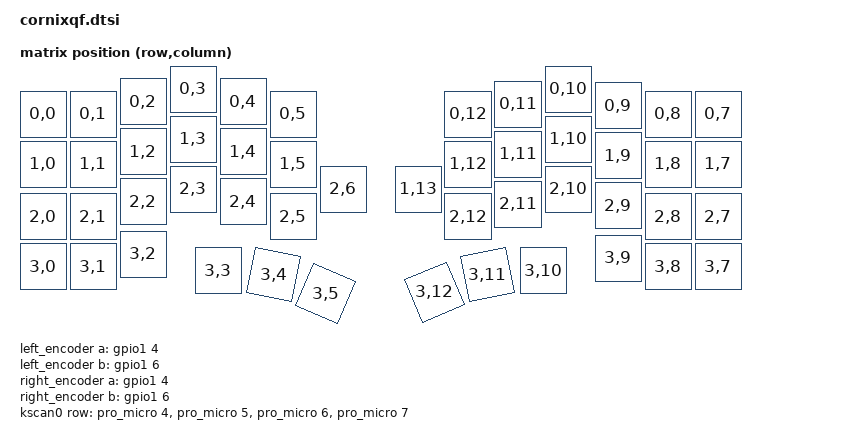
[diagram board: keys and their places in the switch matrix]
/*
 * Copyright (c) 2020 Pete Johanson
 *
 * SPDX-License-Identifier: MIT
 */

#include <dt-bindings/zmk/matrix_transform.h>

// #include <layouts/foostan/corne/5column.dtsi>
// #include <layouts/foostan/corne/6column.dtsi>

// &foostan_corne_6col_layout {
//     transform = <&default_transform>;
// };

// &foostan_corne_5col_layout {
//     transform = <&five_column_transform>;
// };

/ {
    chosen {
        zephyr;
        // display = &oled;
        zmk,kscan = &kscan0;
        zmk,physical-layout = &layout_50;
//        zmk,physical-layout = &foostan_corne_6col_layout;
    };
    default_transform: keymap_transform_50 {
        compatible = "zmk,matrix-transform";
        columns = <14>;
        rows = <4>;
// | SW1  | SW2  | SW3  | SW4  | SW5  | SW6  |             | SW6  | SW5  | SW4  | SW3  | SW2  | SW1  |
// | SW7  | SW8  | SW9  | SW10 | SW11 | SW12 |             | SW12 | SW11 | SW10 | SW9  | SW8  | SW7  |
// | SW13 | SW14 | SW15 | SW16 | SW17 | SW18 | SW19 | SW19 | SW18 | SW17 | SW16 | SW15 | SW14 | SW13 |
// | SW19 | SW20 | SW21 | SW22 | SW23 | SW24 |             | SW24 | SW23 | SW22 | SW21 | SW20 | SW19 |
        map = <
            RC(0,0) RC(0,1) RC(0,2) RC(0,3) RC(0,4) RC(0,5)                   RC(0,12)  RC(0,11) RC(0,10) RC(0,9) RC(0,8) RC(0,7)
            RC(1,0) RC(1,1) RC(1,2) RC(1,3) RC(1,4) RC(1,5)                   RC(1,12)  RC(1,11) RC(1,10) RC(1,9) RC(1,8) RC(1,7)
            RC(2,0) RC(2,1) RC(2,2) RC(2,3) RC(2,4) RC(2,5) RC(2, 6) RC(1,13) RC(2,12)  RC(2,11) RC(2,10) RC(2,9) RC(2,8) RC(2,7)
            RC(3,0) RC(3,1) RC(3,2) RC(3,3) RC(3,4) RC(3,5)                   RC(3,12)  RC(3,11) RC(3,10) RC(3,9) RC(3,8) RC(3,7)
        >;
    };

    layout_50: layout_50 {
        compatible = "zmk,physical-layout";
        display-name = "LAYOUT_50";

        transform = <&default_transform>;

        keys  //                     w   h    x    y     rot    rx    ry
            = <&key_physical_attrs 100 100    0   50       0     0     0>
            , <&key_physical_attrs 100 100  100   50       0     0     0>
            , <&key_physical_attrs 100 100  200   25       0     0     0>
            , <&key_physical_attrs 100 100  300    0       0     0     0>
            , <&key_physical_attrs 100 100  400   25       0     0     0>
            , <&key_physical_attrs 100 100  500   50       0     0     0>
            , <&key_physical_attrs 100 100  850   50       0     0     0>
            , <&key_physical_attrs 100 100  950   30       0     0     0>
            , <&key_physical_attrs 100 100 1050    0       0     0     0>
            , <&key_physical_attrs 100 100 1150   33       0     0     0>
            , <&key_physical_attrs 100 100 1250   50       0     0     0>
            , <&key_physical_attrs 100 100 1350   50       0     0     0>
            , <&key_physical_attrs 100 100    0  150       0     0     0>
            , <&key_physical_attrs 100 100  100  150       0     0     0>
            , <&key_physical_attrs 100 100  200  125       0     0     0>
            , <&key_physical_attrs 100 100  300  100       0     0     0>
            , <&key_physical_attrs 100 100  400  125       0     0     0>
            , <&key_physical_attrs 100 100  500  150       0     0     0>
            , <&key_physical_attrs 100 100  850  150       0     0     0>
            , <&key_physical_attrs 100 100  950  130       0     0     0>
            , <&key_physical_attrs 100 100 1050  100       0     0     0>
            , <&key_physical_attrs 100 100 1150  133       0     0     0>
            , <&key_physical_attrs 100 100 1250  150       0     0     0>
            , <&key_physical_attrs 100 100 1350  150       0     0     0>
            , <&key_physical_attrs 100 100    0  255       0     0     0>
            , <&key_physical_attrs 100 100  100  255       0     0     0>
            , <&key_physical_attrs 100 100  200  225       0     0     0>
            , <&key_physical_attrs 100 100  300  200       0     0     0>
            , <&key_physical_attrs 100 100  400  225       0     0     0>
            , <&key_physical_attrs 100 100  500  255       0     0     0>
            , <&key_physical_attrs 100 100  600  200       0     0     0>
            , <&key_physical_attrs 100 100  750  200       0     0     0>
            , <&key_physical_attrs 100 100  850  255       0     0     0>
            , <&key_physical_attrs 100 100  950  230       0     0     0>
            , <&key_physical_attrs 100 100 1050  200       0     0     0>
            , <&key_physical_attrs 100 100 1150  233       0     0     0>
            , <&key_physical_attrs 100 100 1250  255       0     0     0>
            , <&key_physical_attrs 100 100 1350  255       0     0     0>
            , <&key_physical_attrs 100 100    0  355       0     0     0>
            , <&key_physical_attrs 100 100  100  355       0     0     0>
            , <&key_physical_attrs 100 100  200  330       0     0     0>
            , <&key_physical_attrs 100 100  350  363       0     0     0>
            , <&key_physical_attrs 100 100  450  370    1193   500   475>
            , <&key_physical_attrs 100 100  550  365    2300   500   475>
            , <&key_physical_attrs 100 100  764  538 (-2300)   500   475>
            , <&key_physical_attrs 100 100  900  375 (-1193)   925   475>
            , <&key_physical_attrs 100 100 1000  363       0     0     0>
            , <&key_physical_attrs 100 100 1150  338       0     0     0>
            , <&key_physical_attrs 100 100 1250  355       0     0     0>
            , <&key_physical_attrs 100 100 1350  355       0     0     0>
            ;
    };

    position_map {
        compatible = "zmk,physical-layout-position-map";

        layout_50 {
            physical-layout = <&layout_50>;
            positions
                = < 0  1  2  3  4  5        6  7  8  9 10 11>
                , <12 13 14 15 16 17       18 19 20 21 22 23>
                , <24 25 26 27 28 29 30 31 32 33 34 35 36 37>
                , <38 39 40 41 42 43       44 45 46 47 48 49>
                ;
        };

    };

    left_encoder: encoder_left {
        compatible = "alps,ec11";
        a-gpios = <&gpio1 4 (GPIO_ACTIVE_HIGH | GPIO_PULL_UP)>;
        b-gpios = <&gpio1 6 (GPIO_ACTIVE_HIGH | GPIO_PULL_UP)>;
        steps = <80>;
        status = "disabled";
    };

    right_encoder: encoder_right {
        compatible = "alps,ec11";
        a-gpios = <&gpio1 4 (GPIO_ACTIVE_HIGH | GPIO_PULL_UP)>;
        b-gpios = <&gpio1 6 (GPIO_ACTIVE_HIGH | GPIO_PULL_UP)>;
        steps = <80>;
        status = "disabled";
    };

    sensors: sensors {
        compatible = "zmk,keymap-sensors";
        sensors = <&left_encoder &right_encoder>;
        triggers-per-rotation = <20>;
    };

//    default_transform: keymap_transform_0 {
//        compatible = "zmk,matrix-transform";
//        columns = <12>;
//        rows = <4>;
// | SW1  | SW2  | SW3  | SW4  | SW5  | SW6  |   | SW6  | SW5  | SW4  | SW3  | SW2  | SW1  |
// | SW7  | SW8  | SW9  | SW10 | SW11 | SW12 |   | SW12 | SW11 | SW10 | SW9  | SW8  | SW7  |
// | SW13 | SW14 | SW15 | SW16 | SW17 | SW18 |   | SW18 | SW17 | SW16 | SW15 | SW14 | SW13 |
//                      | SW19 | SW20 | SW21 |   | SW21 | SW20 | SW19 |
//        map = <
//                RC(0,0) RC(0,1) RC(0,2) RC(0,3) RC(0,4) RC(0,5)  RC(0,6) RC(0,7) RC(0,8) RC(0,9) RC(0,10) RC(0,11)
//                RC(1,0) RC(1,1) RC(1,2) RC(1,3) RC(1,4) RC(1,5)  RC(1,6) RC(1,7) RC(1,8) RC(1,9) RC(1,10) RC(1,11)
//                RC(2,0) RC(2,1) RC(2,2) RC(2,3) RC(2,4) RC(2,5)  RC(2,6) RC(2,7) RC(2,8) RC(2,9) RC(2,10) RC(2,11)
//                                        RC(3,3) RC(3,4) RC(3,5)  RC(3,6) RC(3,7) RC(3,8)
//        >;
//    };

//    five_column_transform: keymap_transform_1 {
//        compatible = "zmk,matrix-transform";
//        columns = <10>;
//        rows = <4>;
// | SW2  | SW3  | SW4  | SW5  | SW6  |   | SW6  | SW5  | SW4  | SW3  | SW2  |
// | SW8  | SW9  | SW10 | SW11 | SW12 |   | SW12 | SW11 | SW10 | SW9  | SW8  |
// | SW14 | SW15 | SW16 | SW17 | SW18 |   | SW18 | SW17 | SW16 | SW15 | SW14 |
//               | SW19 | SW20 | SW21 |   | SW21 | SW20 | SW19 |
//        map = <
//                RC(0,1) RC(0,2) RC(0,3) RC(0,4) RC(0,5)  RC(0,6) RC(0,7) RC(0,8) RC(0,9) RC(0,10)
//                RC(1,1) RC(1,2) RC(1,3) RC(1,4) RC(1,5)  RC(1,6) RC(1,7) RC(1,8) RC(1,9) RC(1,10)
//                RC(2,1) RC(2,2) RC(2,3) RC(2,4) RC(2,5)  RC(2,6) RC(2,7) RC(2,8) RC(2,9) RC(2,10)
//                                RC(3,3) RC(3,4) RC(3,5)  RC(3,6) RC(3,7) RC(3,8)
//        >;
//    };

    kscan0: kscan {
        compatible = "zmk,kscan-gpio-matrix";
        wakeup-source;

        diode-direction = "col2row";
        row-gpios
            = <&pro_micro 4 (GPIO_ACTIVE_HIGH | GPIO_PULL_DOWN)>
            , <&pro_micro 5 (GPIO_ACTIVE_HIGH | GPIO_PULL_DOWN)>
            , <&pro_micro 6 (GPIO_ACTIVE_HIGH | GPIO_PULL_DOWN)>
            , <&pro_micro 7 (GPIO_ACTIVE_HIGH | GPIO_PULL_DOWN)>
            ;

    };

    // TODO: per-key RGB node(s)?
};

// &pro_micro_i2c {
//     status = "okay";

//     oled: ssd1306@3c {
//         compatible = "solomon,ssd1306fb";
//         reg = <0x3c>;
//         width = <128>;
//         height = <32>;
//         segment-offset = <0>;
//         page-offset = <0>;
//         display-offset = <0>;
//         multiplex-ratio = <31>;
//         segment-remap;
//         com-invdir;
//         com-sequential;
//         inversion-on;
//         prechargep = <0x22>;
//     };
// };

// &pro_micro_i2c {
//     status = "disabled";  // 禁用 I2C
// };

